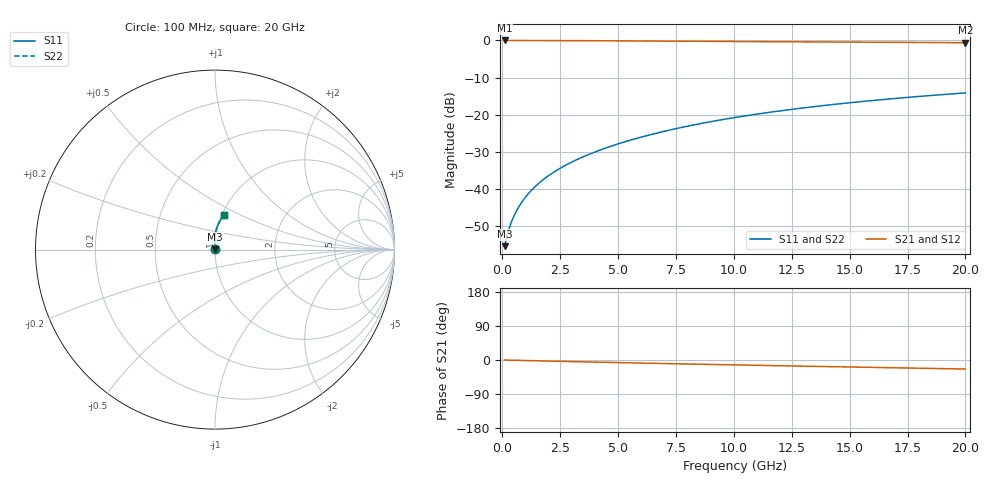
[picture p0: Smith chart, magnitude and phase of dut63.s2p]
! Touchstone file exported from HFSS 2024.1.0
!  File:  C:/UserFiles/LocalFiles/RDL_TSV_Batchsim/temp_RDL_top_63_1778681810.aedt
!  Generated:  10:19:03 PM May 13, 2026
!  Design:  RDL_top
!  Project:  temp_RDL_top_63_1778681810
!  Setup:  Setup1
!  Solution:  Sweep
! Variables:
!  dtsv = 10.80580581um
!  hbump = 3um
!  htsv = 92.89um
!  ldown = 100um
!  lrdl = 354.38um
!  p = 40
!  p1 = 45.25um
!  rhole = 1um
!  t = 450um
!  tdown = 3.915915916um
!  trdl = 3.9um
!  wdown = 15.38538539um
!  wrdl = 26.33um
# GHz S MA R 50.000000
! Terminal data exported
! Port[1] = Box2_T1
! Port[2] = Box2_T2
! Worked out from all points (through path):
!   200 points, 100 MHz to 20 GHz, reference 50 ohm
!   highest |S21| = -0.01 dB at 100 MHz (marker M1); lowest = -0.6 dB at 20 GHz (marker M2)
!   group delay of S21, straight-line fit = 3.26 ps
!   lowest |S11| = -55.4 dB at 100 MHz (marker M3), VSWR 1.00, Z = 50.1 + j0.09 ohm
!   |S11| at or under -10 dB: start of sweep to end of sweep
!   |S22| runs from -55.4 to -14.1 dB; largest |S21 - S12| = 3.5e-15
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0.1  0.001706 31.7  0.9985 -0.2  0.9985 -0.2  0.001706 31.7
! Gamma 0 0 0 0
! Port Impedance 50 0 50 0
0.2  0.002323 48.0  0.9984 -0.3  0.9984 -0.3  0.002323 48.0
0.3  0.002989 56.5  0.9983 -0.4  0.9983 -0.4  0.002989 56.5
0.4  0.003653 62.0  0.9982 -0.6  0.9982 -0.6  0.003653 62.0
0.5  0.004319 66.1  0.9981 -0.7  0.9981 -0.7  0.004319 66.1
0.6  0.004991 69.2  0.998 -0.9  0.998 -0.9  0.004991 69.2
0.8  0.006363 73.9  0.9978 -1.2  0.9978 -1.2  0.006363 73.9
1  0.00777 77.2  0.9975 -1.4  0.9975 -1.4  0.00777 77.2
1.2  0.009205 79.7  0.9973 -1.7  0.9973 -1.7  0.009205 79.6
1.7  0.0129 83.7  0.9965 -2.4  0.9965 -2.4  0.01289 83.7
2.2  0.01671 86.2  0.9955 -3.1  0.9955 -3.1  0.01671 86.2
2.8  0.02146 88.3  0.994 -4.0  0.994 -4.0  0.02146 88.3
3.5  0.02725 89.8  0.992 -4.9  0.992 -4.9  0.02725 89.8
4.2  0.0333 90.8  0.9896 -5.8  0.9896 -5.8  0.0333 90.8
5  0.04053 91.4  0.9867 -6.9  0.9867 -6.9  0.04053 91.4
6.8  0.05791 91.5  0.9797 -9.1  0.9797 -9.1  0.0579 91.4
8.4  0.07432 90.4  0.9733 -11.1  0.9733 -11.1  0.07431 90.4
10.1  0.09235 88.7  0.9666 -13.0  0.9666 -13.0  0.09233 88.7
11.7  0.1096 86.8  0.9606 -14.8  0.9606 -14.8  0.1095 86.8
13.4  0.1279 84.6  0.9544 -16.7  0.9544 -16.7  0.1278 84.6
16.7  0.1629 80.2  0.9429 -20.3  0.9429 -20.3  0.1628 80.2
20  0.1966 75.8  0.9318 -23.8  0.9318 -23.8  0.1966 75.8
